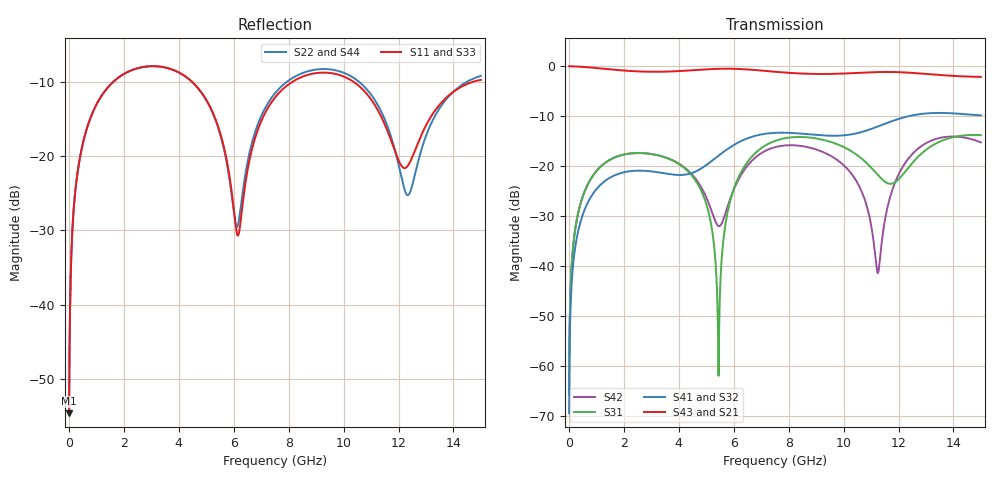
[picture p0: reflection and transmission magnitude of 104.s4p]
! Created with skrf 1.8.0 (http://scikit-rf.org).
# GHz S RI R 50.0
!freq ReS11 ImS11 ReS12 ImS12 ReS13 ImS13
! ReS14 ImS14
! ReS21 ImS21 ReS22 ImS22 ReS23 ImS23
! ReS24 ImS24
! ReS31 ImS31 ReS32 ImS32 ReS33 ImS33
! ReS34 ImS34
! ReS41 ImS41 ReS42 ImS42 ReS43 ImS43
! ReS44 ImS44
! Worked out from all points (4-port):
!   2499 points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, 5 MHz to 15 GHz, reference 50 ohm
!   strongest paths, dB at 5 MHz, 3.476 GHz, 7.19 GHz, 11.1 GHz, 15 GHz:
!     S43: 0.0, -1.1, -1.0, -1.2, -2.2
!     S21: 0.0, -1.1, -1.0, -1.2, -2.2
!     S41: -69.4, -21.4, -13.5, -12.4, -9.8
!     S32: -69.4, -21.4, -13.5, -12.4, -9.9
!     S31: -65.7, -18.2, -15.7, -20.8, -13.8
!     S42: -65.7, -18.2, -16.8, -35.3, -15.2
!   lowest |S11| = -54.6 dB at 5 MHz (marker M1), VSWR 1.00, Z = 50.1 + j0.113 ohm
!   |S11| at or under -10 dB: start of sweep to 1.62 GHz; 4.477 GHz to 8.145 GHz (3.668 GHz wide, 58.1 % of centre); 10.35 GHz to 14.73 GHz (4.378 GHz wide, 34.9 % of centre)
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0.005  0.00147 0.00113  0.9985 -0.00286  7.1e-05 0.000515  -6.93e-05 -0.000333
       0.9985 -0.00286  0.00147 0.00113  -6.93e-05 -0.000333  7.1e-05 0.000515
       7.1e-05 0.000515  -6.93e-05 -0.000333  0.00147 0.00113  0.9985 -0.00286
       -6.93e-05 -0.000333  7.1e-05 0.000515  0.9985 -0.00286  0.00147 0.00113
1.519383  0.233 0.1943  0.6297 -0.6799  0.1 0.0611  -0.0754 -0.0182
          0.6297 -0.6799  0.2332 0.1941  -0.0754 -0.0182  0.0997 0.0614
          0.1 0.0611  -0.0754 -0.0182  0.233 0.1942  0.6297 -0.6799
          -0.0754 -0.0182  0.0997 0.0614  0.6297 -0.6799  0.2332 0.1941
5.446019  0.0772 -0.1342  -0.856 -0.3863  -0.000797 -0.000122  -0.0486 0.1178
          -0.856 -0.3863  0.0782 -0.1303  -0.049 0.1177  -0.0234 -0.00947
          -0.000797 -0.000122  -0.049 0.1177  0.0776 -0.1339  -0.856 -0.3864
          -0.0486 0.1178  -0.0234 -0.00947  -0.856 -0.3864  0.0777 -0.1303
6.452689  0.0426 0.0565  -0.9201 0.119  0.0537 0.0909  0.0358 0.1843
          -0.9201 0.119  0.0501 0.0639  0.0352 0.1843  0.0119 0.0967
          0.0537 0.0909  0.0352 0.1843  0.0435 0.0564  -0.9202 0.1189
          0.0358 0.1843  0.0119 0.0967  -0.9202 0.1189  0.0492 0.064
9.710296  0.3522 -0.0538  0.106 0.8309  0.1019 -0.1338  0.186 -0.0774
          0.106 0.8309  0.3672 -0.085  0.186 -0.0758  0.1072 -0.0503
          0.1019 -0.1338  0.186 -0.0758  0.3518 -0.0556  0.1056 0.8311
          0.186 -0.0774  0.1072 -0.0503  0.1056 0.8311  0.3668 -0.0829
11.24844  0.157 -0.1288  0.6792 0.5461  -0.0574 -0.0582  0.1498 -0.1994
          0.6792 0.5461  0.1445 -0.1655  0.1516 -0.198  -0.00795 -0.00315
          -0.0574 -0.0582  0.1516 -0.198  0.1557 -0.1299  0.6788 0.5466
          0.1498 -0.1994  -0.00795 -0.00315  0.6788 0.5466  0.1456 -0.1644
15  0.3219 0.0457  0.2762 -0.7286  0.179 -0.0984  -0.3185 -0.0474
    0.2762 -0.7286  0.3413 0.0545  -0.3171 -0.0503  0.168 -0.0402
    0.179 -0.0984  -0.3171 -0.0503  0.3194 0.0434  0.278 -0.7295
    -0.3185 -0.0474  0.168 -0.0402  0.278 -0.7295  0.3366 0.0556
